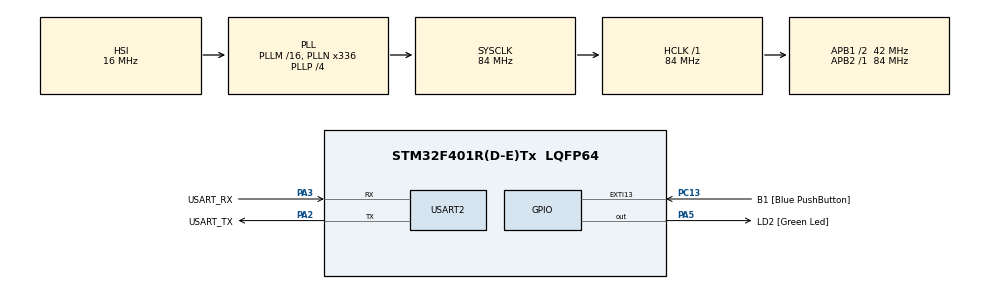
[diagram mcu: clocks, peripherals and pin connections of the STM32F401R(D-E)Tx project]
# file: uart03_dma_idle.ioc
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Dma.Request0=USART2_RX
Dma.USART2_RX.0.Direction=DMA_PERIPH_TO_MEMORY
Dma.USART2_RX.0.FIFOMode=DMA_FIFOMODE_DISABLE
Dma.USART2_RX.0.Instance=DMA1_Stream5
Dma.USART2_RX.0.MemDataAlignment=DMA_MDATAALIGN_BYTE
Dma.USART2_RX.0.MemInc=DMA_MINC_ENABLE
Dma.USART2_RX.0.Mode=DMA_NORMAL
Dma.USART2_RX.0.PeriphDataAlignment=DMA_PDATAALIGN_BYTE
Dma.USART2_RX.0.PeriphInc=DMA_PINC_DISABLE
Dma.USART2_RX.0.Priority=DMA_PRIORITY_LOW
Mcu.Family=STM32F4
Mcu.Name=STM32F401R(D-E)Tx
Mcu.Package=LQFP64
NVIC.DMA1_Stream5_IRQn=true\:0\:0\:false\:false\:true\:false\:true\:true
NVIC.PriorityGroup=NVIC_PRIORITYGROUP_4
NVIC.USART2_IRQn=true\:0\:0\:false\:false\:true\:true\:true\:true
PA13.GPIO_Label=TMS
PA13.Mode=Serial_Wire
PA13.Signal=SYS_JTMS-SWDIO
PA14.GPIO_Label=TCK
PA14.Mode=Serial_Wire
PA14.Signal=SYS_JTCK-SWCLK
PA2.GPIO_Label=USART_TX
PA2.GPIO_Mode=GPIO_MODE_AF_PP
PA2.GPIO_PuPd=GPIO_NOPULL
PA2.GPIO_Speed=GPIO_SPEED_FREQ_LOW
PA2.Mode=Asynchronous
PA2.Signal=USART2_TX
PA3.GPIO_Label=USART_RX
PA3.GPIO_Mode=GPIO_MODE_AF_PP
PA3.GPIO_PuPd=GPIO_NOPULL
PA3.GPIO_Speed=GPIO_SPEED_FREQ_LOW
PA3.Mode=Asynchronous
PA3.Signal=USART2_RX
PA5.GPIO_Label=LD2 [Green Led]
PA5.GPIO_Mode=GPIO_MODE_OUTPUT_PP
PA5.GPIO_PuPd=GPIO_NOPULL
PA5.GPIO_Speed=GPIO_SPEED_FREQ_LOW
PA5.Signal=GPIO_Output
PB3.GPIO_Label=SWO
PB3.Signal=SYS_JTDO-SWO
PC13-ANTI_TAMP.GPIO_Label=B1 [Blue PushButton]
PC13-ANTI_TAMP.GPIO_ModeDefaultEXTI=GPIO_MODE_IT_FALLING
PC13-ANTI_TAMP.GPIO_PuPd=GPIO_NOPULL
PC13-ANTI_TAMP.Signal=GPXTI13
PC14-OSC32_IN.Mode=LSE-External-Oscillator
PC14-OSC32_IN.Signal=RCC_OSC32_IN
PC15-OSC32_OUT.Mode=LSE-External-Oscillator
PC15-OSC32_OUT.Signal=RCC_OSC32_OUT
PH0\ -\ OSC_IN.Mode=HSE-External-Clock-Source
PH0\ -\ OSC_IN.Signal=RCC_OSC_IN
PH1\ -\ OSC_OUT.Mode=HSE-External-Clock-Source
PH1\ -\ OSC_OUT.Signal=RCC_OSC_OUT
ProjectManager.HeapSize=0x200
ProjectManager.StackSize=0x400
ProjectManager.TargetToolchain=CMake
RCC.48MHZClocksFreq_Value=48000000
RCC.AHBFreq_Value=84000000
RCC.APB1CLKDivider=RCC_HCLK_DIV2
RCC.APB1Freq_Value=42000000
RCC.APB1TimFreq_Value=84000000
RCC.APB2Freq_Value=84000000
RCC.APB2TimFreq_Value=84000000
RCC.CortexFreq_Value=84000000
RCC.HCLKFreq_Value=84000000
RCC.HSE_VALUE=8000000
RCC.HSI_VALUE=16000000
RCC.PLLN=336
RCC.PLLP=RCC_PLLP_DIV4
RCC.PLLQ=7
RCC.SYSCLKFreq_VALUE=84000000
RCC.SYSCLKSource=RCC_SYSCLKSOURCE_PLLCLK
RCC.VCOOutputFreq_Value=336000000
USART2.VirtualMode=VM_ASYNC
board=NUCLEO-F401RE

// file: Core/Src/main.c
/* USER CODE BEGIN Header */
/**
  ******************************************************************************
  * @file           : main.c
  * @brief          : Main program body
  ******************************************************************************
  * @attention
  * --------------------------------
  * UART DMA + IDLE受信の流れ
  * HAL_UARTEx_ReceiveToIdle_DMA()
  *  ↓
  * DMAがUSART2の受信データをrx_bufferへ転送
  *  ↓
  * IDLE検出、またはバッファ満杯
  *  ↓
  * HAL_UARTEx_RxEventCallback()
  *  ↓
  * main()で受信データを送信し、DMA受信を再登録
  * --------------------------------
  *
  * Copyright (c) 2026 STMicroelectronics.
  * All rights reserved.
  *
  * This software is licensed under terms that can be found in the LICENSE file
  * in the root directory of this software component.
  * If no LICENSE file comes with this software, it is provided AS-IS.
  *
  ******************************************************************************
  */
/* USER CODE END Header */
#include "main.h"

/* USER CODE BEGIN PD */
#define RX_BUFFER_SIZE 64U

/* USER CODE END PD */

UART_HandleTypeDef huart2;
DMA_HandleTypeDef hdma_usart2_rx;

/* USER CODE BEGIN PV */
static uint8_t rx_buffer[RX_BUFFER_SIZE];
static volatile uint16_t rx_length;
static volatile uint8_t rx_ready;
static volatile uint32_t main_loop_count;

/* USER CODE END PV */

void SystemClock_Config(void);
static void MX_GPIO_Init(void);
static void MX_DMA_Init(void);
static void MX_USART2_UART_Init(void);
/* USER CODE BEGIN PFP */
static void UART_StartReceiveToIdleDMA(void);

/* USER CODE END PFP */

/* USER CODE BEGIN 0 */
static void UART_StartReceiveToIdleDMA(void)
{
  if (HAL_UARTEx_ReceiveToIdle_DMA(&huart2, rx_buffer, RX_BUFFER_SIZE) != HAL_OK)
  {
    Error_Handler();
  }

  /* このサンプルではIDLEまたはバッファ満杯でのみ通知する。 */
  __HAL_DMA_DISABLE_IT(huart2.hdmarx, DMA_IT_HT);
}

/* USER CODE END 0 */

int main(void)
{

  /* MCU Configuration--------------------------------------------------------*/

  /* Reset of all peripherals, Initializes the Flash interface and the Systick. */
  HAL_Init();

  /* Configure the system clock */
  SystemClock_Config();

  /* Initialize all configured peripherals */
  MX_GPIO_Init();
  MX_DMA_Init();
  MX_USART2_UART_Init();
  /* USER CODE BEGIN 2 */
  UART_StartReceiveToIdleDMA();

  /* USER CODE END 2 */

  /* Infinite loop */
  while (1)
  {

    /* USER CODE BEGIN 3 */
    main_loop_count++;

    if (rx_ready != 0U)
    {
      uint16_t length = rx_length;

      rx_ready = 0U;

      if (HAL_UART_Transmit(&huart2, rx_buffer, length, HAL_MAX_DELAY) != HAL_OK)
      {
        Error_Handler();
      }

      HAL_GPIO_TogglePin(LD2_GPIO_Port, LD2_Pin);
      UART_StartReceiveToIdleDMA();
    }
  }
  /* USER CODE END 3 */
}

void SystemClock_Config(void)
{
  RCC_OscInitTypeDef RCC_OscInitStruct = {0};
  RCC_ClkInitTypeDef RCC_ClkInitStruct = {0};

  /** Configure the main internal regulator output voltage
  */
  __HAL_RCC_PWR_CLK_ENABLE();
  __HAL_PWR_VOLTAGESCALING_CONFIG(PWR_REGULATOR_VOLTAGE_SCALE2);

  /** Initializes the RCC Oscillators according to the specified parameters
  * in the RCC_OscInitTypeDef structure.
  */
  RCC_OscInitStruct.OscillatorType = RCC_OSCILLATORTYPE_HSI;
  RCC_OscInitStruct.HSIState = RCC_HSI_ON;
  RCC_OscInitStruct.HSICalibrationValue = RCC_HSICALIBRATION_DEFAULT;
  RCC_OscInitStruct.PLL.PLLState = RCC_PLL_ON;
  RCC_OscInitStruct.PLL.PLLSource = RCC_PLLSOURCE_HSI;
  RCC_OscInitStruct.PLL.PLLM = 16;
  RCC_OscInitStruct.PLL.PLLN = 336;
  RCC_OscInitStruct.PLL.PLLP = RCC_PLLP_DIV4;
  RCC_OscInitStruct.PLL.PLLQ = 7;
  if (HAL_RCC_OscConfig(&RCC_OscInitStruct) != HAL_OK)
  {
    Error_Handler();
  }

  /** Initializes the CPU, AHB and APB buses clocks
  */
  RCC_ClkInitStruct.ClockType = RCC_CLOCKTYPE_HCLK|RCC_CLOCKTYPE_SYSCLK
                              |RCC_CLOCKTYPE_PCLK1|RCC_CLOCKTYPE_PCLK2;
  RCC_ClkInitStruct.SYSCLKSource = RCC_SYSCLKSOURCE_PLLCLK;
  RCC_ClkInitStruct.AHBCLKDivider = RCC_SYSCLK_DIV1;
  RCC_ClkInitStruct.APB1CLKDivider = RCC_HCLK_DIV2;
  RCC_ClkInitStruct.APB2CLKDivider = RCC_HCLK_DIV1;

  if (HAL_RCC_ClockConfig(&RCC_ClkInitStruct, FLASH_LATENCY_2) != HAL_OK)
  {
    Error_Handler();
  }
}

static void MX_USART2_UART_Init(void)
{

  huart2.Instance = USART2;
  huart2.Init.BaudRate = 115200;
  huart2.Init.WordLength = UART_WORDLENGTH_8B;
  huart2.Init.StopBits = UART_STOPBITS_1;
  huart2.Init.Parity = UART_PARITY_NONE;
  huart2.Init.Mode = UART_MODE_TX_RX;
  huart2.Init.HwFlowCtl = UART_HWCONTROL_NONE;
  huart2.Init.OverSampling = UART_OVERSAMPLING_16;
  if (HAL_UART_Init(&huart2) != HAL_OK)
  {
    Error_Handler();
  }

}

static void MX_DMA_Init(void)
{

  /* DMA controller clock enable */
  __HAL_RCC_DMA1_CLK_ENABLE();

  /* DMA interrupt init */
  /* DMA1_Stream5_IRQn interrupt configuration */
  HAL_NVIC_SetPriority(DMA1_Stream5_IRQn, 0, 0);
  HAL_NVIC_EnableIRQ(DMA1_Stream5_IRQn);

}

static void MX_GPIO_Init(void)
{
  GPIO_InitTypeDef GPIO_InitStruct = {0};

  /* GPIO Ports Clock Enable */
  __HAL_RCC_GPIOC_CLK_ENABLE();
  __HAL_RCC_GPIOH_CLK_ENABLE();
  __HAL_RCC_GPIOA_CLK_ENABLE();
  __HAL_RCC_GPIOB_CLK_ENABLE();

  /*Configure GPIO pin Output Level */
  HAL_GPIO_WritePin(LD2_GPIO_Port, LD2_Pin, GPIO_PIN_RESET);

  /*Configure GPIO pin : B1_Pin */
  GPIO_InitStruct.Pin = B1_Pin;
  GPIO_InitStruct.Mode = GPIO_MODE_IT_FALLING;
  GPIO_InitStruct.Pull = GPIO_NOPULL;
  HAL_GPIO_Init(B1_GPIO_Port, &GPIO_InitStruct);

  /*Configure GPIO pin : LD2_Pin */
  GPIO_InitStruct.Pin = LD2_Pin;
  GPIO_InitStruct.Mode = GPIO_MODE_OUTPUT_PP;
  GPIO_InitStruct.Pull = GPIO_NOPULL;
  GPIO_InitStruct.Speed = GPIO_SPEED_FREQ_LOW;
  HAL_GPIO_Init(LD2_GPIO_Port, &GPIO_InitStruct);

}

/* USER CODE BEGIN 4 */
void HAL_UARTEx_RxEventCallback(UART_HandleTypeDef *huart, uint16_t Size)
{
  if (huart->Instance == USART2)
  {
    rx_length = Size;
    rx_ready = 1U;
  }
}

/* USER CODE END 4 */

void Error_Handler(void)
{
  __disable_irq();
  while (1)
  {
  }
}
